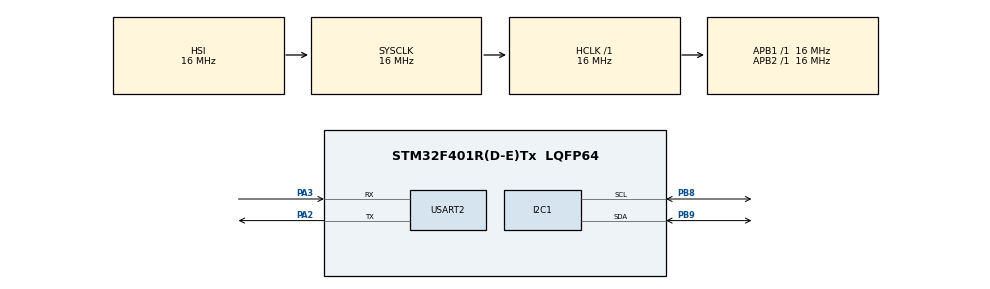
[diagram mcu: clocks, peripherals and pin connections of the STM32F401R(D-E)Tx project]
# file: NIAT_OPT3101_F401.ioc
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Mcu.Family=STM32F4
Mcu.Name=STM32F401R(D-E)Tx
Mcu.Package=LQFP64
NVIC.PriorityGroup=NVIC_PRIORITYGROUP_4
PA2.Mode=Asynchronous
PA2.Signal=USART2_TX
PA3.Mode=Asynchronous
PA3.Signal=USART2_RX
PB8.Mode=I2C
PB8.Signal=I2C1_SCL
PB9.Mode=I2C
PB9.Signal=I2C1_SDA
ProjectManager.HeapSize=0x200
ProjectManager.StackSize=0x400
ProjectManager.TargetToolchain=STM32CubeIDE
RCC.AHBFreq_Value=16000000
RCC.APB1Freq_Value=16000000
RCC.APB2Freq_Value=16000000
RCC.CortexFreq_Value=16000000
RCC.HSE_VALUE=25000000
RCC.HSI_VALUE=16000000
RCC.LSE_VALUE=32768
RCC.SYSCLKFreq_VALUE=16000000
RCC.VCOOutputFreq_Value=192000000
USART2.VirtualMode=VM_ASYNC
board=custom

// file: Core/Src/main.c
/* USER CODE BEGIN Header */
/**
  ******************************************************************************
  * @file           : main.c
  * @brief          : Main program body
  ******************************************************************************
  * @attention
  *
  * Copyright (c) 2026 STMicroelectronics.
  * All rights reserved.
  *
  * This software is licensed under terms that can be found in the LICENSE file
  * in the root directory of this software component.
  * If no LICENSE file comes with this software, it is provided AS-IS.
  *
  ******************************************************************************
  */
/* USER CODE END Header */
#include "main.h"

/* USER CODE BEGIN Includes */
#include "opt3101.h"
#include <stdarg.h>
#include <stdio.h>

/* USER CODE END Includes */

I2C_HandleTypeDef hi2c1;

UART_HandleTypeDef huart2;

/* USER CODE BEGIN PV */
static OPT3101_Device opt_front;
static OPT3101_Device opt_bottom;
static OPT3101_Measurement opt_measurement;
static uint32_t opt_front_last_attempt = 0U;
static uint32_t opt_bottom_last_attempt = 0U;
static uint8_t opt_front_attempted = 0U;
static uint8_t opt_bottom_attempted = 0U;
/* USER CODE END PV */

void SystemClock_Config(void);
static void MX_GPIO_Init(void);
static void MX_I2C1_Init(void);
static void MX_USART2_UART_Init(void);

/* USER CODE BEGIN 0 */
static void APP_Printf(const char *format, ...)
{
    char buffer[192];
    va_list args;
    int length;

    va_start(args, format);
    length = vsnprintf(buffer, sizeof(buffer), format, args);
    va_end(args);

    if (length <= 0) return;
    if ((size_t)length >= sizeof(buffer)) length = (int)sizeof(buffer) - 1;
    (void)HAL_UART_Transmit(&huart2, (uint8_t *)buffer,
                            (uint16_t)length, 100U);
}
static void APP_ReportOptInit(const char *name,
                              const OPT3101_Device *dev,
                              OPT3101_Status status)
{
    if (status == OPT3101_STATUS_OK)
    {
        APP_Printf(
            "%s OPT3101 initialized at address 0x%02X\r\n",
            name,
            (unsigned int)dev->address_7bit
        );
    }
    else
    {
        APP_Printf(
            "%s OPT3101 init failed: %s "
            "(HAL_Status=%d, I2C_State=0x%02X, I2C_Error=0x%08lX)\r\n",
            name,
            OPT3101_StatusString(status),
            (int)OPT3101_GetLastHALStatus(dev),
            (unsigned int)HAL_I2C_GetState(dev->hi2c),
            (unsigned long)HAL_I2C_GetError(dev->hi2c)
        );
    }
}

static void APP_ReportMeasurement(const char *name,
                                  const OPT3101_Measurement *m)
{
    APP_Printf("%s phase=%u distance_nominal=%lu mm amplitude=%u ambient=%u "
               "temp_nominal=%d C channel=%u frame=%u valid=%u "
               "(phase_ovl=%u phase_f2_ovl=%u signal_ovl=%u ambient_ovl=%u)\r\n",
               name,
               (unsigned int)m->phase_raw,
               (unsigned long)m->distance_mm_nominal,
               (unsigned int)m->amplitude,
               (unsigned int)m->ambient,
               (int)m->temperature_c_nominal,
               (unsigned int)m->channel,
               (unsigned int)m->frame_counter,
               (unsigned int)m->distance_valid,
               (unsigned int)m->phase_overflow,
               (unsigned int)m->phase_overflow_f2,
               (unsigned int)m->signal_overflow,
               (unsigned int)m->ambient_overflow);
}

static void APP_MarkForReinitialization(OPT3101_Device *dev)
{
    dev->initialized = false;
    dev->timing_generator_enabled = false;
    dev->sample_pending = false;
}

/* USER CODE END 0 */

int main(void)
{

  /* MCU Configuration--------------------------------------------------------*/

  /* Reset of all peripherals, Initializes the Flash interface and the Systick. */
  HAL_Init();

  /* Configure the system clock */
  SystemClock_Config();

  /* Initialize all configured peripherals */
  MX_GPIO_Init();
  MX_I2C1_Init();
  MX_USART2_UART_Init();
  /* USER CODE BEGIN 2 */
  OPT3101_Status attach_status;

  attach_status = OPT3101_Attach(&opt_front, &hi2c1,
                                 OPT3101_ADDR_FRONT_7BIT,
                                 OPT3101_DEFAULT_I2C_TIMEOUT_MS);
  APP_Printf("Front OPT3101 attach: %s\r\n",
             OPT3101_StatusString(attach_status));

  attach_status = OPT3101_Attach(&opt_bottom, &hi2c1,
                                 OPT3101_ADDR_BOTTOM_7BIT,
                                 OPT3101_DEFAULT_I2C_TIMEOUT_MS);
  APP_Printf("Bottom OPT3101 attach: %s\r\n",
             OPT3101_StatusString(attach_status));

  APP_Printf("\r\n=== NIAT OPT3101 diagnostic ===\r\n");
  APP_Printf("I2C1 ready; front=0x5E, bottom=0x5F (7-bit addresses)\r\n");

  /* USER CODE END 2 */

  /* Infinite loop */
  while (1)
  {

    /* USER CODE BEGIN 3 */
    uint32_t now = HAL_GetTick();
    OPT3101_Status status;

    /* Retry initialization of each unavailable sensor once per second. */
    if (!opt_front.initialized &&
        ((!opt_front_attempted) ||
         ((uint32_t)(now - opt_front_last_attempt) >= 1000U)))
    {
        opt_front_attempted = 1U;
        opt_front_last_attempt = now;
        status = OPT3101_Init(&opt_front);
        APP_ReportOptInit("Front", &opt_front, status);
    }

    now = HAL_GetTick();
    if (!opt_bottom.initialized &&
        ((!opt_bottom_attempted) ||
         ((uint32_t)(now - opt_bottom_last_attempt) >= 1000U)))
    {
        opt_bottom_attempted = 1U;
        opt_bottom_last_attempt = now;
        status = OPT3101_Init(&opt_bottom);
        APP_ReportOptInit("Bottom", &opt_bottom, status);
    }

    if (opt_front.initialized)
    {
        status = OPT3101_Sample(&opt_front, &opt_measurement);
        if (status == OPT3101_STATUS_OK)
        {
            APP_ReportMeasurement("Front", &opt_measurement);
        }
        else
        {
            APP_Printf("Front sample error: %s\r\n", OPT3101_StatusString(status));
            if ((status == OPT3101_STATUS_I2C_ERROR) ||
                (status == OPT3101_STATUS_INIT_TIMEOUT))
            {
                APP_MarkForReinitialization(&opt_front);
            }
        }
    }

    if (opt_bottom.initialized)
    {
        status = OPT3101_Sample(&opt_bottom, &opt_measurement);
        if (status == OPT3101_STATUS_OK)
        {
            APP_ReportMeasurement("Bottom", &opt_measurement);
        }
        else
        {
            APP_Printf("Bottom sample error: %s\r\n", OPT3101_StatusString(status));
            if ((status == OPT3101_STATUS_I2C_ERROR) ||
                (status == OPT3101_STATUS_INIT_TIMEOUT))
            {
                APP_MarkForReinitialization(&opt_bottom);
            }
        }
    }

    HAL_Delay(10U);
    /* USER CODE END 3 */
  }

}

void SystemClock_Config(void)
{
  RCC_OscInitTypeDef RCC_OscInitStruct = {0};
  RCC_ClkInitTypeDef RCC_ClkInitStruct = {0};

  /** Configure the main internal regulator output voltage
  */
  __HAL_RCC_PWR_CLK_ENABLE();
  __HAL_PWR_VOLTAGESCALING_CONFIG(PWR_REGULATOR_VOLTAGE_SCALE2);

  /** Initializes the RCC Oscillators according to the specified parameters
  * in the RCC_OscInitTypeDef structure.
  */
  RCC_OscInitStruct.OscillatorType = RCC_OSCILLATORTYPE_HSI;
  RCC_OscInitStruct.HSIState = RCC_HSI_ON;
  RCC_OscInitStruct.HSICalibrationValue = RCC_HSICALIBRATION_DEFAULT;
  RCC_OscInitStruct.PLL.PLLState = RCC_PLL_NONE;
  if (HAL_RCC_OscConfig(&RCC_OscInitStruct) != HAL_OK)
  {
    Error_Handler();
  }

  /** Initializes the CPU, AHB and APB buses clocks
  */
  RCC_ClkInitStruct.ClockType = RCC_CLOCKTYPE_HCLK|RCC_CLOCKTYPE_SYSCLK
                              |RCC_CLOCKTYPE_PCLK1|RCC_CLOCKTYPE_PCLK2;
  RCC_ClkInitStruct.SYSCLKSource = RCC_SYSCLKSOURCE_HSI;
  RCC_ClkInitStruct.AHBCLKDivider = RCC_SYSCLK_DIV1;
  RCC_ClkInitStruct.APB1CLKDivider = RCC_HCLK_DIV1;
  RCC_ClkInitStruct.APB2CLKDivider = RCC_HCLK_DIV1;

  if (HAL_RCC_ClockConfig(&RCC_ClkInitStruct, FLASH_LATENCY_0) != HAL_OK)
  {
    Error_Handler();
  }
}

static void MX_I2C1_Init(void)
{

  hi2c1.Instance = I2C1;
  hi2c1.Init.ClockSpeed = 100000;
  hi2c1.Init.DutyCycle = I2C_DUTYCYCLE_2;
  hi2c1.Init.OwnAddress1 = 0;
  hi2c1.Init.AddressingMode = I2C_ADDRESSINGMODE_7BIT;
  hi2c1.Init.DualAddressMode = I2C_DUALADDRESS_DISABLE;
  hi2c1.Init.OwnAddress2 = 0;
  hi2c1.Init.GeneralCallMode = I2C_GENERALCALL_DISABLE;
  hi2c1.Init.NoStretchMode = I2C_NOSTRETCH_DISABLE;
  if (HAL_I2C_Init(&hi2c1) != HAL_OK)
  {
    Error_Handler();
  }

}

static void MX_USART2_UART_Init(void)
{

  huart2.Instance = USART2;
  huart2.Init.BaudRate = 115200;
  huart2.Init.WordLength = UART_WORDLENGTH_8B;
  huart2.Init.StopBits = UART_STOPBITS_1;
  huart2.Init.Parity = UART_PARITY_NONE;
  huart2.Init.Mode = UART_MODE_TX_RX;
  huart2.Init.HwFlowCtl = UART_HWCONTROL_NONE;
  huart2.Init.OverSampling = UART_OVERSAMPLING_16;
  if (HAL_UART_Init(&huart2) != HAL_OK)
  {
    Error_Handler();
  }

}

static void MX_GPIO_Init(void)
{

  /* GPIO Ports Clock Enable */
  __HAL_RCC_GPIOA_CLK_ENABLE();
  __HAL_RCC_GPIOB_CLK_ENABLE();

}

void Error_Handler(void)
{
  __disable_irq();
  while (1)
  {
  }
}
